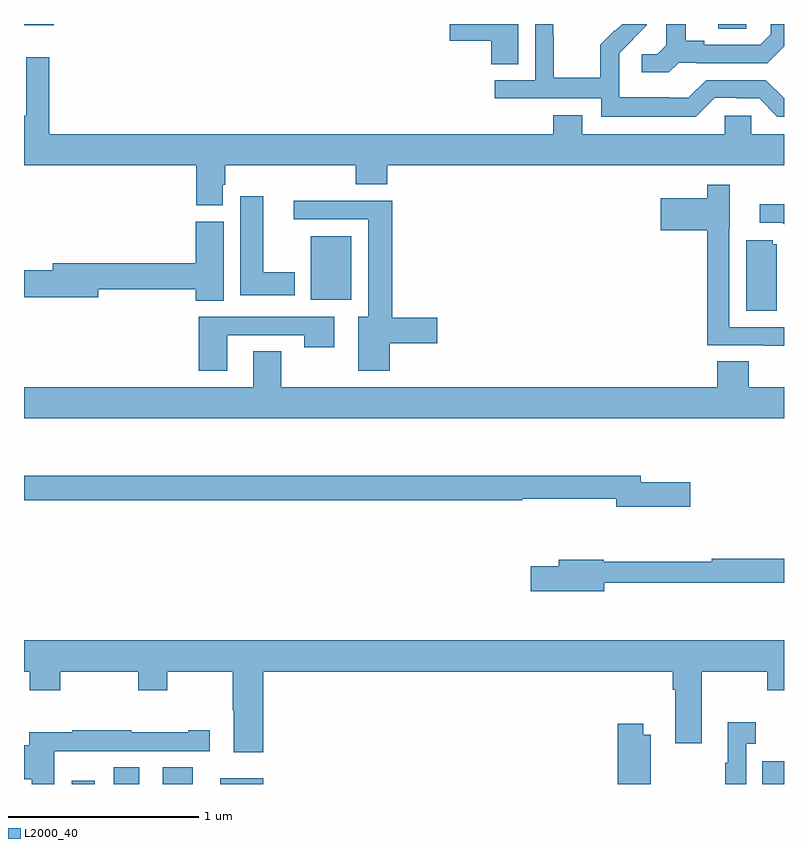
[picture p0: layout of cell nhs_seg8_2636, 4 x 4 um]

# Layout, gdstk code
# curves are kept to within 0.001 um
import gdstk
lib = gdstk.Library(unit=1e-6, precision=1e-09)
def R(c, l, rs):  # rectangles x0, y0, x1, y1
    for r in rs: c.add(gdstk.rectangle(r[:2], r[2:], *l))
def P(c, l, *ps):  # polygons
    for p in ps: c.add(gdstk.Polygon(p, *l))
L2000_40 = (2000, 40)

nhs_seg8_2636 = lib.new_cell('nhs_seg8_2636')
R(nhs_seg8_2636, L2000_40, [(277.25,1123.9,277.372,1123.918), (277.472,1123.9,277.606,1123.988), (277.73,1123.9,277.888,1123.988), (278.033,1123.9,278.26,1123.93), (280.885,1123.9,281,1124.019), (278.51,1126.448,278.722,1126.783), (280.655,1127.875,280.8,1127.9), (277,1127.894,277.156,1127.9)])
P(nhs_seg8_2636, L2000_40, [(280.635,1127.511),(280.751,1127.511),(280.751,1127.508),(280.869,1127.508),(280.965,1127.412),(281,1127.412),(281,1127.509),(280.905,1127.604),(280.59,1127.604),(280.497,1127.511),(280.397,1127.511),(280.397,1127.515),(280.134,1127.515),(280.134,1127.649),(280.132,1127.649),(280.132,1127.746),(280.278,1127.894),(280.278,1127.9),(280.148,1127.9),(280.113,1127.865),(280.11,1127.868),(280.033,1127.791),(280.033,1127.617),(279.789,1127.617),(279.789,1127.84),(279.786,1127.84),(279.786,1127.9),(279.69,1127.9),(279.69,1127.604),(279.477,1127.604),(279.477,1127.508),(280.038,1127.508),(280.038,1127.411),(280.535,1127.411)],
  [(280.446,1127.697),(280.54,1127.697),(280.54,1127.694),(280.912,1127.694),(281,1127.782),(281,1127.9),(280.931,1127.9),(280.931,1127.847),(280.874,1127.79),(280.579,1127.79),(280.579,1127.813),(280.483,1127.813),(280.483,1127.9),(280.379,1127.9),(280.379,1127.789),(280.332,1127.742),(280.251,1127.742),(280.251,1127.645),(280.394,1127.645)],
  [(279.601,1127.9),(279.24,1127.9),(279.24,1127.813),(279.458,1127.813),(279.458,1127.689),(279.601,1127.689)],
  [(278.047,1127.055),(278.06,1127.055),(278.06,1127.156),(278.747,1127.156),(278.747,1127.057),(278.912,1127.057),(278.912,1127.156),(281,1127.156),(281,1127.32),(280.827,1127.32),(280.827,1127.418),(280.689,1127.418),(280.689,1127.32),(279.937,1127.32),(279.937,1127.419),(279.785,1127.419),(279.785,1127.32),(277.133,1127.32),(277.133,1127.725),(277.012,1127.725),(277.012,1127.416),(277,1127.416),(277,1127.156),(277.907,1127.156),(277.907,1126.945),(278.047,1126.945)],
  [(281,1126.305),(280.713,1126.305),(280.713,1126.83),(280.714,1126.83),(280.714,1127.053),(280.597,1127.053),(280.597,1126.984),(280.35,1126.984),(280.35,1126.814),(280.597,1126.814),(280.597,1126.209),(280.897,1126.209),(280.897,1126.207),(281,1126.207)],
  [(278.425,1126.594),(278.26,1126.594),(278.26,1126.993),(278.138,1126.993),(278.138,1126.472),(278.425,1126.472)],
  [(278.926,1126.22),(279.175,1126.22),(279.175,1126.355),(278.939,1126.355),(278.939,1126.97),(278.421,1126.97),(278.421,1126.872),(278.813,1126.872),(278.813,1126.36),(278.759,1126.36),(278.759,1126.074),(278.926,1126.074)],
  [(281,1126.951),(280.872,1126.951),(280.872,1126.854),(280.992,1126.854),(281,1126.846)],
  [(278.05,1126.86),(277.904,1126.86),(277.904,1126.64),(277.151,1126.64),(277.151,1126.604),(277.002,1126.604),(277.002,1126.462),(277.39,1126.462),(277.39,1126.504),(277.904,1126.504),(277.904,1126.444),(278.05,1126.444)],
  [(280.963,1126.74),(280.941,1126.74),(280.941,1126.761),(280.802,1126.761),(280.802,1126.392),(280.963,1126.392)],
  [(278.071,1126.263),(278.476,1126.263),(278.476,1126.2),(278.632,1126.2),(278.632,1126.359),(277.919,1126.359),(277.919,1126.074),(278.071,1126.074)],
  [(281,1125.988),(280.814,1125.988),(280.814,1126.124),(280.649,1126.124),(280.649,1125.988),(278.355,1125.988),(278.355,1126.178),(278.207,1126.178),(278.207,1125.988),(277,1125.988),(277,1125.824),(281,1125.824)],
  [(280.507,1125.489),(280.246,1125.489),(280.246,1125.523),(277,1125.523),(277,1125.394),(279.622,1125.394),(279.622,1125.402),(280.118,1125.402),(280.118,1125.359),(280.507,1125.359)],
  [(280.054,1124.958),(281,1124.958),(281,1125.086),(280.619,1125.086),(280.619,1125.071),(280.05,1125.071),(280.05,1125.079),(279.815,1125.079),(279.815,1125.045),(279.666,1125.045),(279.666,1124.915),(280.054,1124.915)],
  [(278.258,1124.492),(280.415,1124.492),(280.415,1124.396),(280.427,1124.396),(280.427,1124.115),(280.567,1124.115),(280.567,1124.492),(280.912,1124.492),(280.912,1124.393),(281,1124.393),(281,1124.656),(277,1124.656),(277,1124.492),(277.031,1124.492),(277.031,1124.393),(277.191,1124.393),(277.191,1124.492),(277.6,1124.492),(277.6,1124.393),(277.755,1124.393),(277.755,1124.492),(278.098,1124.492),(278.098,1124.288),(278.105,1124.288),(278.105,1124.067),(278.258,1124.067)],
  [(280.8,1124.111),(280.852,1124.111),(280.852,1124.224),(280.703,1124.224),(280.703,1124.011),(280.692,1124.011),(280.692,1123.9),(280.8,1123.9)],
  [(280.299,1124.158),(280.258,1124.158),(280.258,1124.218),(280.124,1124.218),(280.124,1123.9),(280.299,1123.9)],
  [(277.158,1124.072),(277.368,1124.072),(277.368,1124.073),(277.978,1124.073),(277.978,1124.182),(277.865,1124.182),(277.865,1124.172),(277.565,1124.172),(277.565,1124.182),(277.255,1124.182),(277.255,1124.172),(277.028,1124.172),(277.028,1124.103),(277,1124.103),(277,1123.925),(277.042,1123.925),(277.042,1123.9),(277.158,1123.9)])

lib.write_gds('nhs_seg8_2636.gds')
